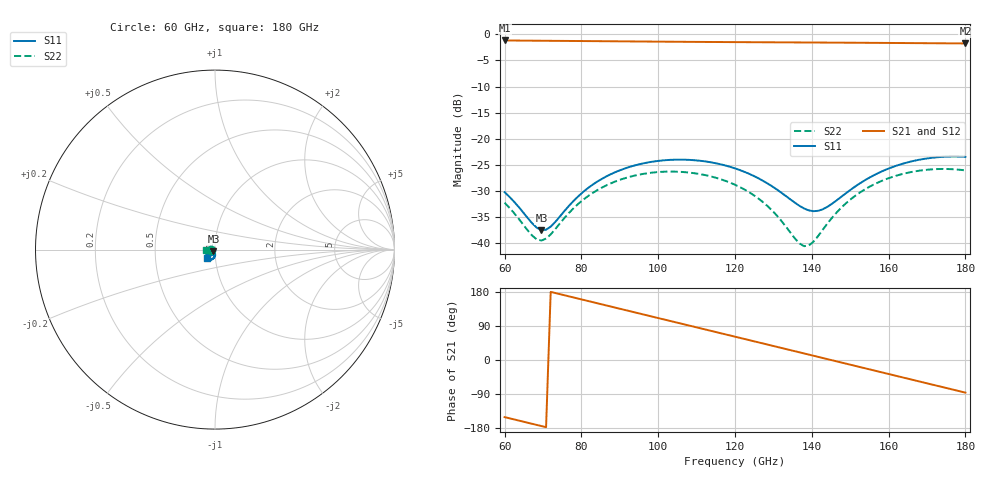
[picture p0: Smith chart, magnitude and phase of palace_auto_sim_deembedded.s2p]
! Created with skrf 1.11.0 (http://scikit-rf.org).
# GHz S DB R 50.0
!freq dBS11 angS11 dBS21 angS21 dBS12 angS12 dBS22 angS22
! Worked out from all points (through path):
!   101 points, 60 GHz to 180 GHz, reference 50 ohm
!   highest |S21| = -1.16 dB at 60 GHz (marker M1); lowest = -1.7 dB at 180 GHz (marker M2)
!   group delay of S21, straight-line fit = 6.84 ps
!   lowest |S11| = -37.5 dB at 69.6 GHz (marker M3), VSWR 1.03, Z = 49.1 - j0.982 ohm
!   |S11| at or under -10 dB: start of sweep to end of sweep
!   |S22| runs from -40.6 to -25.8 dB; largest |S21 - S12| = 9.8e-14
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60  -30.26 -166.1  -1.16 -150.7  -1.16 -150.7  -32.28 -176.1
67.2  -36.24 -151.0  -1.20 -168.5  -1.20 -168.5  -38.61 -158.7
69.6  -37.54 -131.2  -1.22 -174.4  -1.22 -174.4  -39.53 -137.2
72  -36.87 -109.4  -1.23 179.7  -1.23 179.7  -38.36 -116.9
76.8  -32.85 -89.3  -1.26 167.9  -1.26 167.9  -34.21 -102.2
80.4  -30.25 -87.9  -1.28 159.0  -1.28 159.0  -31.75 -103.4
85.2  -27.76 -92.6  -1.30 147.1  -1.30 147.1  -29.43 -110.4
90  -26.07 -100.1  -1.33 135.3  -1.33 135.3  -27.90 -119.9
96  -24.75 -111.0  -1.36 120.5  -1.36 120.5  -26.77 -133.2
100.8  -24.20 -120.1  -1.39 108.7  -1.39 108.7  -26.36 -144.3
110.4  -24.20 -138.0  -1.44 85.1  -1.44 85.1  -26.73 -166.3
120  -25.69 -153.7  -1.48 61.5  -1.48 61.5  -28.84 173.6
128.4  -28.56 -161.4  -1.51 40.9  -1.51 40.9  -32.88 162.1
136.8  -32.88 -149.2  -1.54 20.2  -1.54 20.2  -40.10 -173.3
138  -33.39 -144.1  -1.55 17.3  -1.55 17.3  -40.62 -161.1
140.4  -33.91 -131.4  -1.56 11.3  -1.56 11.3  -39.78 -136.8
144  -33.10 -112.6  -1.57 2.5  -1.57 2.5  -36.34 -118.5
150  -29.85 -98.3  -1.59 -12.3  -1.59 -12.3  -31.70 -116.8
154.8  -27.56 -98.2  -1.62 -24.1  -1.62 -24.1  -29.31 -123.5
160.8  -25.51 -103.8  -1.64 -38.9  -1.64 -38.9  -27.38 -135.0
170.4  -23.75 -117.7  -1.69 -62.5  -1.69 -62.5  -25.93 -156.2
180  -23.49 -133.2  -1.73 -86.1  -1.73 -86.1  -26.09 -178.3
